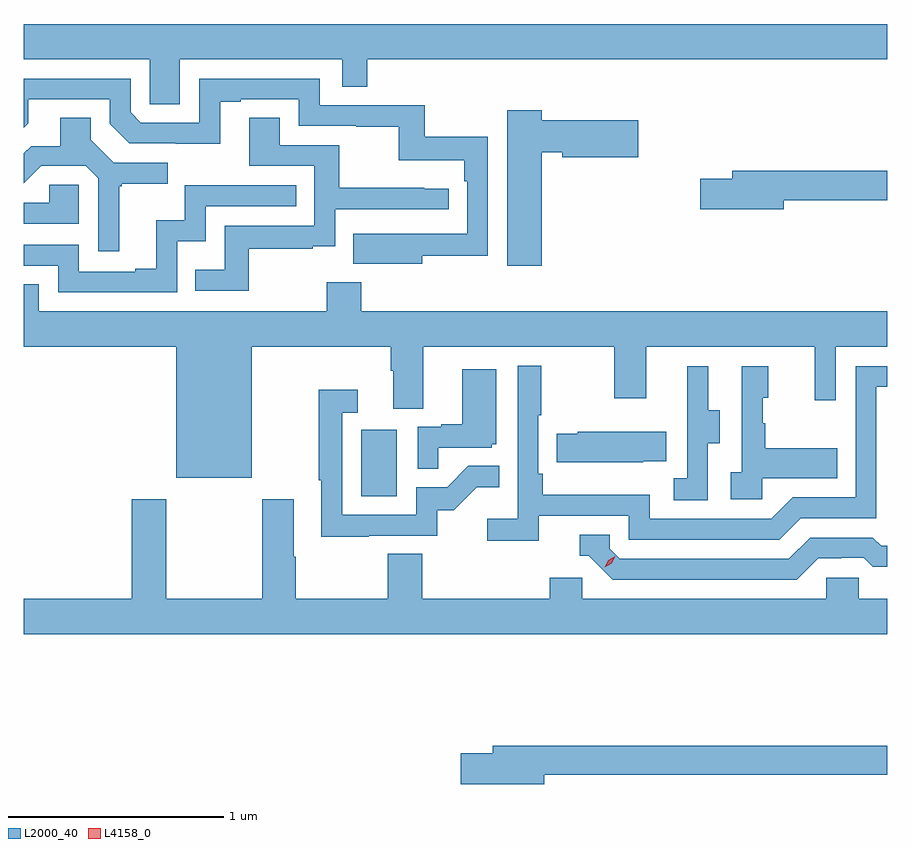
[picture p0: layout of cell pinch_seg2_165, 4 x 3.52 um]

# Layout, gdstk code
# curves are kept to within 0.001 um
import gdstk
lib = gdstk.Library(unit=1e-6, precision=1e-09)
def R(c, l, rs):  # rectangles x0, y0, x1, y1
    for r in rs: c.add(gdstk.rectangle(r[:2], r[2:], *l))
def P(c, l, *ps):  # polygons
    for p in ps: c.add(gdstk.Polygon(p, *l))
L2000_40 = (2000, 40)
L4158_0 = (4158, 0)

pinch_seg2_165 = lib.new_cell('pinch_seg2_165')
R(pinch_seg2_165, L2000_40, [(1082.18,629.628,1082.344,629.935)])
P(pinch_seg2_165, L2000_40, [(1081.339,631.652),(1082.091,631.652),(1082.091,631.525),(1082.207,631.525),(1082.207,631.652),(1084.616,631.652),(1084.616,631.816),(1080.616,631.816),(1080.616,631.652),(1081.2,631.652),(1081.2,631.444),(1081.339,631.444)],
  [(1082.461,630.742),(1082.766,630.742),(1082.766,631.294),(1082.473,631.294),(1082.473,631.44),(1081.986,631.44),(1081.986,631.563),(1081.428,631.563),(1081.428,631.359),(1081.158,631.359),(1081.11,631.407),(1081.11,631.563),(1080.616,631.563),(1080.616,631.336),(1080.637,631.357),(1080.637,631.467),(1081.014,631.467),(1081.014,631.353),(1081.104,631.263),(1081.525,631.262),(1081.525,631.455),(1081.621,631.455),(1081.621,631.467),(1081.89,631.467),(1081.89,631.344),(1082.155,631.344),(1082.155,631.339),(1082.352,631.339),(1082.352,631.184),(1082.657,631.184),(1082.657,631.088),(1082.67,631.088),(1082.67,630.843),(1082.143,630.844),(1082.143,630.704),(1082.461,630.704)],
  [(1083.016,631.222),(1083.11,631.222),(1083.11,631.199),(1083.463,631.199),(1083.463,631.369),(1083.016,631.369),(1083.016,631.417),(1082.855,631.417),(1082.855,630.696),(1083.016,630.696)],
  [(1081.657,630.774),(1081.955,630.774),(1081.955,630.785),(1082.058,630.785),(1082.058,630.957),(1082.584,630.957),(1082.584,631.053),(1082.471,631.053),(1082.471,631.058),(1082.078,631.058),(1082.078,631.254),(1081.801,631.254),(1081.801,631.382),(1081.661,631.382),(1081.661,631.158),(1081.962,631.158),(1081.962,630.882),(1081.546,630.882),(1081.546,630.676),(1081.411,630.676),(1081.411,630.579),(1081.657,630.579)],
  [(1081.057,631.065),(1081.069,631.065),(1081.069,631.076),(1081.282,631.076),(1081.282,631.173),(1081.032,631.173),(1080.925,631.28),(1080.925,631.382),(1080.785,631.382),(1080.785,631.25),(1080.65,631.25),(1080.616,631.216),(1080.616,631.077),(1080.697,631.158),(1080.903,631.158),(1080.96,631.101),(1080.96,630.762),(1081.057,630.762)],
  [(1084.138,631),(1084.616,631),(1084.616,631.136),(1083.899,631.136),(1083.899,631.1),(1083.75,631.1),(1083.75,630.958),(1084.138,630.958)],
  [(1080.87,631.071),(1080.733,631.071),(1080.733,630.987),(1080.616,630.987),(1080.616,630.891),(1080.87,630.891)],
  [(1081.326,630.809),(1081.458,630.809),(1081.458,630.972),(1081.877,630.972),(1081.877,631.068),(1081.362,631.068),(1081.362,630.907),(1081.229,630.907),(1081.229,630.682),(1081.133,630.682),(1081.133,630.669),(1080.87,630.669),(1080.87,630.792),(1080.616,630.792),(1080.616,630.696),(1080.774,630.696),(1080.774,630.573),(1081.326,630.573)],
  [(1081.672,630.32),(1082.315,630.32),(1082.315,630.208),(1082.327,630.208),(1082.327,630.034),(1082.467,630.034),(1082.467,630.32),(1083.352,630.32),(1083.352,630.081),(1083.499,630.081),(1083.499,630.32),(1084.28,630.32),(1084.28,630.072),(1084.377,630.072),(1084.377,630.32),(1084.616,630.32),(1084.616,630.484),(1082.18,630.484),(1082.18,630.619),(1082.02,630.619),(1082.02,630.484),(1080.684,630.484),(1080.684,630.611),(1080.616,630.611),(1080.616,630.32),(1081.322,630.32),(1081.322,629.714),(1081.672,629.714)],
  [(1083.002,629.538),(1083.42,629.538),(1083.42,629.427),(1084.117,629.427),(1084.216,629.526),(1084.566,629.526),(1084.566,630.135),(1084.616,630.135),(1084.616,630.231),(1084.47,630.231),(1084.47,629.622),(1084.179,629.622),(1084.08,629.523),(1083.516,629.523),(1083.516,629.635),(1083.02,629.635),(1083.02,629.731),(1083,629.731),(1083,630.004),(1083.013,630.004),(1083.013,630.232),(1082.904,630.232),(1082.904,629.524),(1082.763,629.524),(1082.763,629.422),(1083.002,629.422)],
  [(1084.038,629.711),(1084.385,629.711),(1084.385,629.851),(1084.051,629.851),(1084.051,629.966),(1084.041,629.966),(1084.041,630.084),(1084.066,630.084),(1084.066,630.229),(1083.942,630.229),(1083.942,629.738),(1083.891,629.738),(1083.891,629.613),(1084.038,629.613)],
  [(1083.786,629.872),(1083.841,629.872),(1083.841,630.027),(1083.787,630.027),(1083.787,630.229),(1083.689,630.229),(1083.689,630.015),(1083.69,630.015),(1083.69,629.711),(1083.627,629.711),(1083.627,629.608),(1083.786,629.608)],
  [(1082.537,629.853),(1082.784,629.853),(1082.784,629.868),(1082.806,629.868),(1082.806,630.217),(1082.648,630.217),(1082.648,629.962),(1082.549,629.962),(1082.549,629.949),(1082.442,629.949),(1082.442,629.755),(1082.537,629.755)],
  [(1082.213,629.445),(1082.532,629.445),(1082.532,629.562),(1082.608,629.562),(1082.715,629.669),(1082.819,629.669),(1082.819,629.768),(1082.675,629.768),(1082.577,629.67),(1082.433,629.67),(1082.433,629.541),(1082.091,629.541),(1082.091,630.015),(1082.164,630.015),(1082.164,630.121),(1081.983,630.121),(1081.983,629.701),(1081.995,629.701),(1081.995,629.44),(1082.213,629.44)],
  [(1083.485,629.789),(1083.593,629.789),(1083.593,629.926),(1083.183,629.926),(1083.183,629.916),(1083.085,629.916),(1083.085,629.786),(1083.485,629.786)],
  [(1084.616,629.152),(1084.485,629.152),(1084.485,629.25),(1084.335,629.25),(1084.335,629.152),(1083.204,629.152),(1083.204,629.25),(1083.053,629.25),(1083.053,629.152),(1082.462,629.152),(1082.462,629.36),(1082.302,629.36),(1082.302,629.152),(1081.875,629.152),(1081.875,629.348),(1081.867,629.348),(1081.867,629.614),(1081.72,629.614),(1081.72,629.152),(1081.275,629.152),(1081.275,629.614),(1081.115,629.614),(1081.115,629.152),(1080.616,629.152),(1080.616,628.988),(1084.616,628.988)],
  [(1084.297,629.34),(1084.404,629.34),(1084.404,629.343),(1084.507,629.343),(1084.549,629.301),(1084.616,629.301),(1084.616,629.397),(1084.588,629.397),(1084.549,629.436),(1084.26,629.436),(1084.161,629.337),(1083.378,629.337),(1083.33,629.385),(1083.33,629.448),(1083.191,629.448),(1083.191,629.352),(1083.234,629.352),(1083.345,629.241),(1084.198,629.241)],
  [(1083.028,628.336),(1084.616,628.336),(1084.616,628.472),(1082.789,628.472),(1082.789,628.436),(1082.64,628.436),(1082.64,628.294),(1083.028,628.294)])
P(pinch_seg2_165, L4158_0, [(1083.308,629.298),(1083.308,629.298),(1083.325,629.33),(1083.356,629.35),(1083.356,629.35),(1083.356,629.349),(1083.339,629.317),(1083.308,629.298)])

lib.write_gds('pinch_seg2_165.gds')
